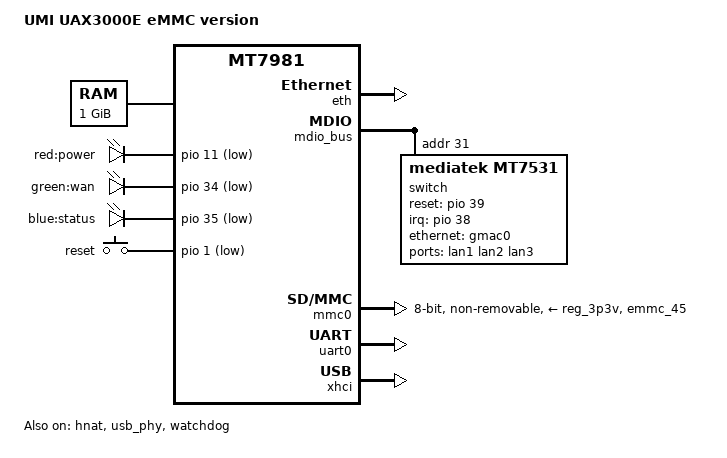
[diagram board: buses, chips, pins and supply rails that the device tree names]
// SPDX-License-Identifier: GPL-2.0-or-later OR MIT

/dts-v1/;
#include <dt-bindings/gpio/gpio.h>
#include <dt-bindings/input/input.h>
#include <dt-bindings/leds/common.h>

#include "mt7981.dtsi"

/ {
	model = "UMI UAX3000E eMMC version";
	compatible = "umi,uax3000e", "mediatek,mt7981";

	chosen: chosen {
		bootargs = "root=PARTLABEL=rootfs rootwait rootfstype=squashfs,f2fs";
		stdout-path = "serial0:115200n8";
	};

	aliases {
		led-boot = &red_led;
		led-failsafe = &red_led;
		led-running = &green_led;
		led-upgrade = &blue_led;
		serial0 = &uart0;
	};

	memory {
		reg = <0 0x40000000 0 0x40000000>;
	};

        gpio-leds {
                compatible = "gpio-leds";

                red_led: led-0 {
                        label = "red:power";
                        gpios = <&pio 11 GPIO_ACTIVE_LOW>;
                };

                green_led: led-1 {
                        label = "green:wan";
                        gpios = <&pio 34 GPIO_ACTIVE_LOW>;
                };
                
		blue_led: led-2 {
			label = "blue:status";
			gpios = <&pio 35 GPIO_ACTIVE_LOW>;
		};
	};

	gpio-keys {
		compatible = "gpio-keys";
		reset {
			label = "reset";
			linux,code = <KEY_RESTART>;
			gpios = <&pio 1 GPIO_ACTIVE_LOW>;
		};
	};
};

&eth {
	status = "okay";

	gmac0: mac@0 {
		compatible = "mediatek,eth-mac";
		reg = <0>;
		phy-mode = "2500base-x";

		fixed-link {
			speed = <2500>;
			full-duplex;
			pause;
		};
	};


	gmac1: mac@1 {
		compatible = "mediatek,eth-mac";
		reg = <1>;
		phy-mode = "gmii";
		phy-handle = <&int_gbe_phy>;
	};
};

&mdio_bus {
	switch: switch@1f {
		compatible = "mediatek,mt7531";
		reg = <31>;
		reset-gpios = <&pio 39 GPIO_ACTIVE_HIGH>;
		interrupt-controller;
		#interrupt-cells = <1>;
		interrupt-parent = <&pio>;
		interrupts = <38 IRQ_TYPE_LEVEL_HIGH>;
	};
};

&switch {
	ports {
		#address-cells = <1>;
		#size-cells = <0>;

		port@0 {
			reg = <0>;
			label = "lan1";
		};

		port@1 {
			reg = <1>;
			label = "lan2";
		};

		port@2 {
			reg = <2>;
			label = "lan3";
		};

		port@6 {
			reg = <6>;
			ethernet = <&gmac0>;
			phy-mode = "2500base-x";

			fixed-link {
				speed = <2500>;
				full-duplex;
				pause;
			};
		};
	};
};

&hnat {
	mtketh-wan = "eth1";
	mtketh-lan = "eth0";
	mtketh-max-gmac = <2>;
	ext-devices-prefix = "usb", "wwan";
	status = "okay";
};

&mmc0 {
	bus-width = <8>;
	cap-mmc-highspeed;
	max-frequency = <52000000>;
	no-sd;
	no-sdio;
	non-removable;
	pinctrl-names = "default", "state_uhs";
	pinctrl-0 = <&mmc0_pins_default>;
	pinctrl-1 = <&mmc0_pins_uhs>;
	vmmc-supply = <&reg_3p3v>;
	non-removable;
	status = "okay";
};

&pio {
	mmc0_pins_default: mmc0-pins-default {
		mux {
			function = "flash";
			groups = "emmc_45";
		};
	};

	mmc0_pins_uhs: mmc0-pins-uhs {
		mux {
			function = "flash";
			groups = "emmc_45";
		};
	};
};

&uart0 {
	status = "okay";
};

&usb_phy {
	status = "okay";
};

&watchdog {
	status = "okay";
};

&xhci {
	status = "okay";
};
